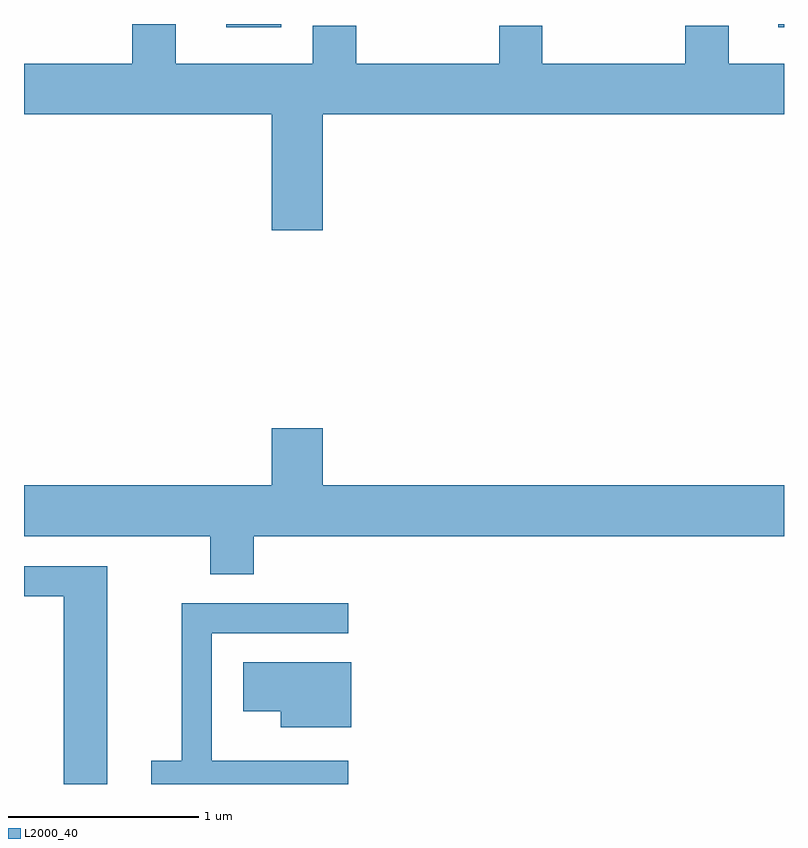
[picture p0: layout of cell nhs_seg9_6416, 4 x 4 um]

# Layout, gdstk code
import gdstk
lib = gdstk.Library(unit=1e-6, precision=1e-09)
def R(c, l, rs):  # rectangles x0, y0, x1, y1
    for r in rs: c.add(gdstk.rectangle(r[:2], r[2:], *l))
def P(c, l, *ps):  # polygons
    for p in ps: c.add(gdstk.Polygon(p, *l))
L2000_40 = (2000, 40)

nhs_seg9_6416 = lib.new_cell('nhs_seg9_6416')
R(nhs_seg9_6416, L2000_40, [(374.676,2074.416,374.964,2074.432), (377.581,2074.416,377.611,2074.432)])
P(nhs_seg9_6416, L2000_40, [(375.184,2073.956),(377.611,2073.956),(377.611,2074.224),(377.319,2074.224),(377.319,2074.424),(377.091,2074.424),(377.091,2074.224),(376.339,2074.224),(376.339,2074.424),(376.111,2074.424),(376.111,2074.224),(375.359,2074.224),(375.359,2074.424),(375.131,2074.424),(375.131,2074.224),(374.409,2074.224),(374.409,2074.432),(374.181,2074.432),(374.181,2074.224),(373.611,2074.224),(373.611,2073.956),(374.916,2073.956),(374.916,2073.346),(375.184,2073.346)],
  [(374.819,2071.736),(377.611,2071.736),(377.611,2072.004),(375.184,2072.004),(375.184,2072.304),(374.916,2072.304),(374.916,2072.004),(373.611,2072.004),(373.611,2071.736),(374.591,2071.736),(374.591,2071.536),(374.819,2071.536)],
  [(374.049,2071.579),(373.611,2071.579),(373.611,2071.421),(373.821,2071.421),(373.821,2070.432),(374.049,2070.432)],
  [(375.318,2070.554),(374.599,2070.554),(374.599,2071.226),(375.318,2071.226),(375.318,2071.384),(374.441,2071.384),(374.441,2070.554),(374.281,2070.554),(374.281,2070.432),(375.318,2070.432)],
  [(375.334,2071.074),(374.766,2071.074),(374.766,2070.816),(374.961,2070.816),(374.961,2070.731),(375.334,2070.731)])

lib.write_gds('nhs_seg9_6416.gds')
